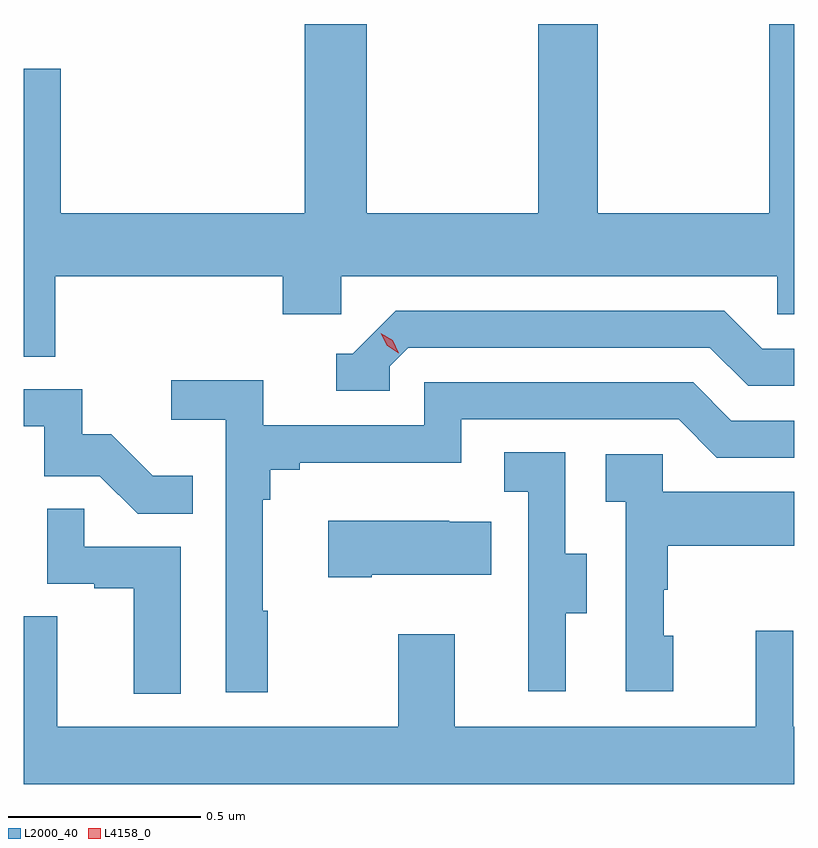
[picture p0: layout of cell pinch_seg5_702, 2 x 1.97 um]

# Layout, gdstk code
import gdstk
lib = gdstk.Library(unit=1e-6, precision=1e-09)
def P(c, l, *ps):  # polygons
    for p in ps: c.add(gdstk.Polygon(p, *l))
L2000_40 = (2000, 40)
L4158_0 = (4158, 0)

pinch_seg5_702 = lib.new_cell('pinch_seg5_702')
P(pinch_seg5_702, L2000_40, [(1142.18,834.116),(1142.771,834.116),(1142.771,834.018),(1142.922,834.018),(1142.922,834.116),(1144.053,834.116),(1144.053,834.018),(1144.098,834.018),(1144.098,834.771),(1144.033,834.771),(1144.033,834.28),(1143.588,834.28),(1143.588,834.771),(1143.433,834.771),(1143.433,834.28),(1142.988,834.28),(1142.988,834.771),(1142.828,834.771),(1142.828,834.28),(1142.194,834.28),(1142.194,834.655),(1142.098,834.655),(1142.098,833.908),(1142.18,833.908)],
  [(1143.048,833.883),(1143.096,833.931),(1143.879,833.931),(1143.978,833.832),(1144.098,833.832),(1144.098,833.928),(1144.015,833.928),(1143.916,834.027),(1143.063,834.027),(1142.952,833.916),(1142.909,833.916),(1142.909,833.82),(1143.048,833.82)],
  [(1142.731,833.249),(1142.719,833.249),(1142.719,833.537),(1142.738,833.537),(1142.738,833.614),(1142.815,833.614),(1142.815,833.633),(1143.234,833.633),(1143.234,833.745),(1143.798,833.745),(1143.897,833.646),(1144.098,833.646),(1144.098,833.742),(1143.934,833.742),(1143.835,833.841),(1143.138,833.841),(1143.138,833.73),(1142.72,833.73),(1142.72,833.846),(1142.481,833.846),(1142.481,833.744),(1142.622,833.744),(1142.622,833.037),(1142.731,833.037)],
  [(1142.537,833.599),(1142.433,833.599),(1142.326,833.706),(1142.25,833.706),(1142.25,833.823),(1142.098,833.823),(1142.098,833.727),(1142.151,833.727),(1142.151,833.598),(1142.296,833.598),(1142.394,833.5),(1142.537,833.5)],
  [(1143.505,833.242),(1143.559,833.242),(1143.559,833.397),(1143.504,833.397),(1143.504,833.66),(1143.345,833.66),(1143.345,833.557),(1143.408,833.557),(1143.408,833.253),(1143.407,833.253),(1143.407,833.04),(1143.505,833.04)],
  [(1143.784,833.184),(1143.759,833.184),(1143.759,833.303),(1143.769,833.303),(1143.769,833.417),(1144.098,833.417),(1144.098,833.557),(1143.756,833.557),(1143.756,833.655),(1143.609,833.655),(1143.609,833.531),(1143.66,833.531),(1143.66,833.04),(1143.784,833.04)],
  [(1142.506,833.415),(1142.255,833.415),(1142.255,833.513),(1142.16,833.513),(1142.16,833.319),(1142.281,833.319),(1142.281,833.307),(1142.384,833.307),(1142.384,833.033),(1142.506,833.033)],
  [(1143.001,833.342),(1143.311,833.342),(1143.311,833.479),(1143.203,833.479),(1143.203,833.482),(1142.889,833.482),(1142.889,833.335),(1143.001,833.335)],
  [(1144.098,832.948),(1144.095,832.948),(1144.095,833.197),(1143.998,833.197),(1143.998,832.948),(1143.217,832.948),(1143.217,833.188),(1143.07,833.188),(1143.07,832.948),(1142.185,832.948),(1142.185,833.234),(1142.098,833.234),(1142.098,832.799),(1144.098,832.799)])
P(pinch_seg5_702, L4158_0, [(1143.071,833.917),(1143.041,833.936),(1143.025,833.969),(1143.025,833.969),(1143.025,833.969),(1143.056,833.95),(1143.071,833.917),(1143.071,833.917)])

lib.write_gds('pinch_seg5_702.gds')
